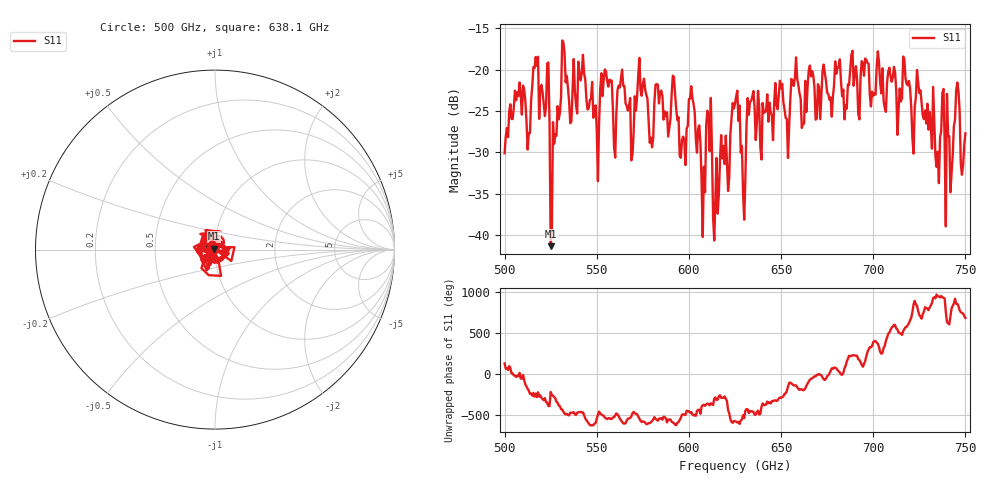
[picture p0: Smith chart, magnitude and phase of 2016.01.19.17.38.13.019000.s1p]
!Created with skrf (http://scikit-rf.org).
# GHz S RI R 50.0
!freq ReS11 ImS11
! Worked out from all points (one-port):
!   401 points, 500 GHz to 750 GHz, reference 50 ohm
!   lowest |S11| = -41.4 dB at 525 GHz (marker M1), VSWR 1.02, Z = 49.4 + j0.58 ohm
!   |S11| at or under -10 dB: start of sweep to end of sweep
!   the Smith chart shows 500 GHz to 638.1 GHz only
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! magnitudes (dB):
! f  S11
! 500 GHz  -30.1
! 506.9 GHz  -22.8
! 513.1 GHz  -27.7
! 516.9 GHz  -18.5
! 523.1 GHz  -19.2
! 525 GHz  -41.4
! 531.2 GHz  -16.5
! 550 GHz  -27.3
! 562.5 GHz  -22.2
! 568.8 GHz  -31.0
! 573.8 GHz  -22.5
! 579.4 GHz  -28.2
! 583.1 GHz  -21.8
! 593.8 GHz  -26.1
! 601.9 GHz  -23.4
! 607.5 GHz  -40.2
! 610.6 GHz  -25.4
! 614.4 GHz  -35.4
! 625 GHz  -24.1
! 629.4 GHz  -34.9
! 633.1 GHz  -23.9
! 656.2 GHz  -21.3
! 687.5 GHz  -20.1
! 718.8 GHz  -21.9
! 735 GHz  -29.9
! 743.1 GHz  -30.4
! 745.6 GHz  -21.6
! 750 GHz  -27.7
